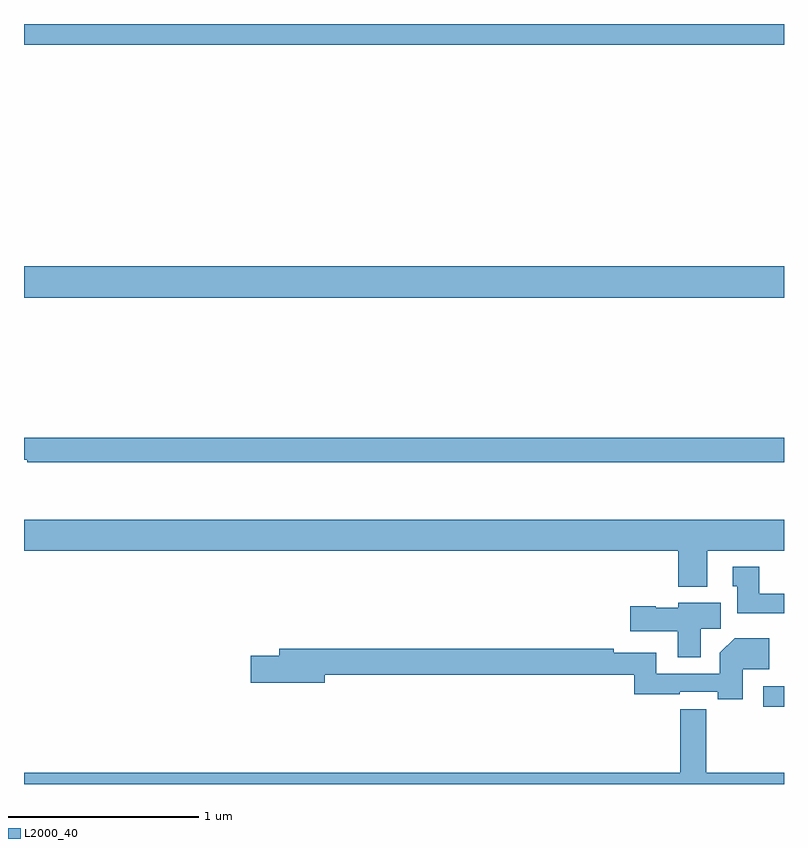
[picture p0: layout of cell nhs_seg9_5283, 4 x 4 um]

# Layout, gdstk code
import gdstk
lib = gdstk.Library(unit=1e-6, precision=1e-09)
def R(c, l, rs):  # rectangles x0, y0, x1, y1
    for r in rs: c.add(gdstk.rectangle(r[:2], r[2:], *l))
def P(c, l, *ps):  # polygons
    for p in ps: c.add(gdstk.Polygon(p, *l))
L2000_40 = (2000, 40)

nhs_seg9_5283 = lib.new_cell('nhs_seg9_5283')
R(nhs_seg9_5283, L2000_40, [(420.891,1220.907,421,1221.015), (417,1223.06,421,1223.224), (417,1224.392,421,1224.5)])
P(nhs_seg9_5283, L2000_40, [(421,1222.322),(417,1222.322),(417,1222.206),(417.016,1222.206),(417.016,1222.194),(421,1222.194)],
  [(420.595,1221.728),(421,1221.728),(421,1221.892),(417,1221.892),(417,1221.728),(420.443,1221.728),(420.443,1221.539),(420.595,1221.539)],
  [(421,1221.502),(420.871,1221.502),(420.871,1221.643),(420.731,1221.643),(420.731,1221.54),(420.755,1221.54),(420.755,1221.398),(421,1221.398)],
  [(420.562,1221.316),(420.667,1221.316),(420.667,1221.454),(420.444,1221.454),(420.444,1221.427),(420.324,1221.427),(420.324,1221.435),(420.192,1221.435),(420.192,1221.305),(420.44,1221.305),(420.44,1221.168),(420.562,1221.168)],
  [(420.784,1221.104),(420.923,1221.104),(420.923,1221.268),(420.74,1221.268),(420.662,1221.19),(420.662,1221.081),(420.327,1221.081),(420.327,1221.192),(420.104,1221.192),(420.104,1221.212),(418.343,1221.212),(418.343,1221.176),(418.194,1221.176),(418.194,1221.034),(418.582,1221.034),(418.582,1221.076),(420.211,1221.076),(420.211,1220.973),(420.45,1220.973),(420.45,1220.985),(420.65,1220.985),(420.65,1220.947),(420.784,1220.947)],
  [(421,1220.56),(420.59,1220.56),(420.59,1220.893),(420.454,1220.893),(420.454,1220.56),(417,1220.56),(417,1220.5),(421,1220.5)])

lib.write_gds('nhs_seg9_5283.gds')
